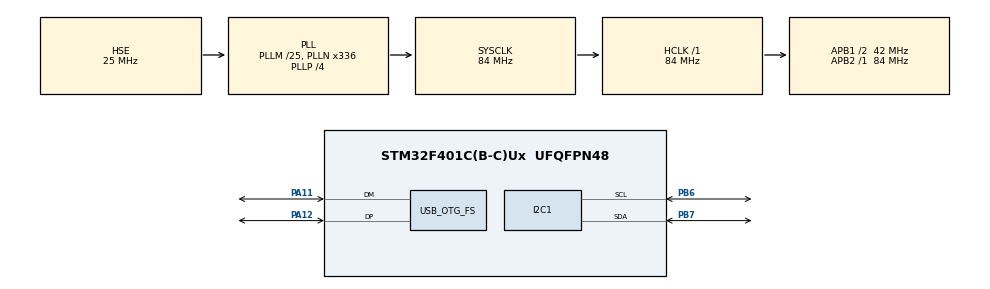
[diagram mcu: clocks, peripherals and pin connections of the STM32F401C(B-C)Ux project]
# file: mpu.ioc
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I2C1.I2C_Mode=I2C_Fast
Mcu.Family=STM32F4
Mcu.Name=STM32F401C(B-C)Ux
Mcu.Package=UFQFPN48
NVIC.OTG_FS_IRQn=true\:0\:0\:false\:false\:true\:false\:true\:true
NVIC.PriorityGroup=NVIC_PRIORITYGROUP_4
PA11.Mode=Device_Only
PA11.Signal=USB_OTG_FS_DM
PA12.Mode=Device_Only
PA12.Signal=USB_OTG_FS_DP
PB6.Mode=I2C
PB6.Signal=I2C1_SCL
PB7.Mode=I2C
PB7.Signal=I2C1_SDA
PH0\ -\ OSC_IN.Mode=HSE-External-Oscillator
PH0\ -\ OSC_IN.Signal=RCC_OSC_IN
PH1\ -\ OSC_OUT.Mode=HSE-External-Oscillator
PH1\ -\ OSC_OUT.Signal=RCC_OSC_OUT
ProjectManager.HeapSize=0x200
ProjectManager.StackSize=0x400
ProjectManager.TargetToolchain=STM32CubeIDE
RCC.48MHZClocksFreq_Value=48000000
RCC.AHBFreq_Value=84000000
RCC.APB1CLKDivider=RCC_HCLK_DIV2
RCC.APB1Freq_Value=42000000
RCC.APB1TimFreq_Value=84000000
RCC.APB2Freq_Value=84000000
RCC.APB2TimFreq_Value=84000000
RCC.CortexFreq_Value=84000000
RCC.HCLKFreq_Value=84000000
RCC.HSE_VALUE=25000000
RCC.HSI_VALUE=16000000
RCC.LSE_VALUE=32768
RCC.PLLM=25
RCC.PLLN=336
RCC.PLLP=RCC_PLLP_DIV4
RCC.PLLQ=7
RCC.SYSCLKFreq_VALUE=84000000
RCC.SYSCLKSource=RCC_SYSCLKSOURCE_PLLCLK
RCC.VCOOutputFreq_Value=336000000
STMicroelectronics.X-CUBE-ALGOBUILD.1.5.0.LibraryCcDSPOoLibraryJjDSPOoLibrary=true
USB_DEVICE.CLASS_NAME_FS=CDC
USB_DEVICE.VirtualMode=Cdc
USB_DEVICE.VirtualModeFS=Cdc_FS
USB_OTG_FS.VirtualMode=Device_Only
VP_STMicroelectronics.X-CUBE-ALGOBUILD_VS_DSPOoLibraryJjLibrary_1.5.0_1.5.0.Mode=DSPOoLibraryJjLibrary
VP_USB_DEVICE_VS_USB_DEVICE_CDC_FS.Mode=CDC_FS
board=custom

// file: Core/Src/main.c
/* USER CODE BEGIN Header */
/**
 ******************************************************************************
 * @file           : main.c
 * @brief          : Main program body
 ******************************************************************************
 * @attention
 *
 * Copyright (c) 2026 STMicroelectronics.
 * All rights reserved.
 *
 * This software is licensed under terms that can be found in the LICENSE file
 * in the root directory of this software component.
 * If no LICENSE file comes with this software, it is provided AS-IS.
 *
 ******************************************************************************
 */
/* USER CODE END Header */

#include "main.h"
#include "usb_device.h"

/* USER CODE BEGIN Includes */
#include "usbd_cdc_if.h"
#include <math.h>
#include "arm_math.h"
/* USER CODE END Includes */

/* USER CODE BEGIN PD */

#define DEG2RAD 3.14159265f / 180.0f
#define RAD2DEG 180.0f / 3.14159265f

/* USER CODE END PD */

I2C_HandleTypeDef hi2c1;

void SystemClock_Config(void);
static void MX_GPIO_Init(void);
static void MX_I2C1_Init(void);

/* USER CODE BEGIN 0 */

float sigma = DEG2RAD * 0.5f;   // 0.5 deg/s

// Pre-allocated matrices for CMSIS-DSP (flat arrays)
static float F_flat[16];
static float P_flat[16];
static float Q_flat[16];
static float temp1_flat[16];
static float temp2_flat[16];
static float F_T_flat[16];

static float H_flat[12];
static float HP_flat[12];
static float S_flat[9];
static float R_flat[9];
static float HP_T_flat[12];
static float S_inv_flat[9];
static float PHt_flat[12];
static float K_flat[12];
static float KH_flat[16];
static float I_KH_flat[16];
static float P_new_flat[16];

// CMSIS-DSP matrix instances
static arm_matrix_instance_f32 F_mat = { 4, 4, F_flat };
static arm_matrix_instance_f32 P_mat = { 4, 4, P_flat };

static arm_matrix_instance_f32 temp1_mat = { 4, 4, temp1_flat };
static arm_matrix_instance_f32 temp2_mat = { 4, 4, temp2_flat };
static arm_matrix_instance_f32 F_T_mat = { 4, 4, F_T_flat };

// test the github
static arm_matrix_instance_f32 H_mat = { 3, 4, H_flat };
static arm_matrix_instance_f32 HP_mat = { 3, 4, HP_flat };
static arm_matrix_instance_f32 S_mat = { 3, 3, S_flat };
static arm_matrix_instance_f32 HP_T_mat = { 4, 3, HP_T_flat };
static arm_matrix_instance_f32 S_inv_mat = { 3, 3, S_inv_flat };
static arm_matrix_instance_f32 H_T_mat = { 4, 3, PHt_flat };
static arm_matrix_instance_f32 PHt_mat = { 4, 3, PHt_flat };
static arm_matrix_instance_f32 K_mat = { 4, 3, K_flat };
static arm_matrix_instance_f32 KH_mat = { 4, 4, KH_flat };
static arm_matrix_instance_f32 I_KH_mat = { 4, 4, I_KH_flat };
static arm_matrix_instance_f32 P_new_mat = { 4, 4, P_new_flat };

/* USER CODE END 0 */

int main(void) {

	uint8_t data[2];
	uint8_t buf[200];

	// Raw sensor values
	int16_t AccX, AccY, AccZ;
	int16_t GyroX, GyroY, GyroZ;

	// Converted values
	float Ax_g, Ay_g, Az_g;
	float Gx_dps, Gy_dps, Gz_dps;

	// Gyro offsets
	float Gx_offset = 0, Gy_offset = 0, Gz_offset = 0;

	// Timing
	uint32_t start_time, execution_time;
	float dt;

	// Quaternion State
	float q0 = 1.0f, q1 = 0.0f, q2 = 0.0f, q3 = 0.0f;

	// Output angles
	float Roll_q, Pitch_q, Yaw_q;

	/* MCU Configuration--------------------------------------------------------*/
	HAL_Init();

	/* Configure the system clock */
	SystemClock_Config();

	/* Initialize all configured peripherals */
	MX_GPIO_Init();
	MX_I2C1_Init();
	MX_USB_DEVICE_Init();

	/* USER CODE BEGIN 2 */
#define MPU_ADDR (0x68 << 1)

	uint8_t config;

	// Sample Rate = 200Hz
	config = 0x04;
	HAL_I2C_Mem_Write(&hi2c1, MPU_ADDR, 0x19, I2C_MEMADD_SIZE_8BIT, &config, 1,
			100);

	// Gyroscope Range = ±500 dps
	config = 0x08;
	HAL_I2C_Mem_Write(&hi2c1, MPU_ADDR, 0x1B, I2C_MEMADD_SIZE_8BIT, &config, 1,
			100);

	// Accelerometer Range = ±4g
	config = 0x08;
	HAL_I2C_Mem_Write(&hi2c1, MPU_ADDR, 0x1C, I2C_MEMADD_SIZE_8BIT, &config, 1,
			100);

	// Digital Low Pass Filter = 184Hz
	config = 0x01;
	HAL_I2C_Mem_Write(&hi2c1, MPU_ADDR, 0x1A, I2C_MEMADD_SIZE_8BIT, &config, 1,
			100);

	HAL_Delay(100);

	// -------- Gyroscope Calibration --------
	int32_t gx_sum = 0, gy_sum = 0, gz_sum = 0;
	uint16_t samples = 0;
	uint32_t calib_start = HAL_GetTick();

	while ((HAL_GetTick() - calib_start) < 10000) {
		HAL_I2C_Mem_Read(&hi2c1, MPU_ADDR, 0x43, I2C_MEMADD_SIZE_8BIT, data, 2,
				100);
		GyroX = (data[0] << 8) | data[1];
		HAL_I2C_Mem_Read(&hi2c1, MPU_ADDR, 0x45, I2C_MEMADD_SIZE_8BIT, data, 2,
				100);
		GyroY = (data[0] << 8) | data[1];
		HAL_I2C_Mem_Read(&hi2c1, MPU_ADDR, 0x47, I2C_MEMADD_SIZE_8BIT, data, 2,
				100);
		GyroZ = (data[0] << 8) | data[1];

		gx_sum += GyroX;
		gy_sum += GyroY;
		gz_sum += GyroZ;
		samples++;
		HAL_Delay(5);
	}

	Gx_offset = (float) gx_sum / samples;
	Gy_offset = (float) gy_sum / samples;
	Gz_offset = (float) gz_sum / samples;

	/* USER CODE END 2 */

	/* Infinite loop */
	/* USER CODE BEGIN WHILE */
	while (1) {

		start_time = HAL_GetTick();

		//================ READ ACC =================
		HAL_I2C_Mem_Read(&hi2c1, MPU_ADDR, 0x3B, I2C_MEMADD_SIZE_8BIT, data, 2,
				100);
		AccX = (data[0] << 8) | data[1];

		HAL_I2C_Mem_Read(&hi2c1, MPU_ADDR, 0x3D, I2C_MEMADD_SIZE_8BIT, data, 2,
				100);
		AccY = (data[0] << 8) | data[1];

		HAL_I2C_Mem_Read(&hi2c1, MPU_ADDR, 0x3F, I2C_MEMADD_SIZE_8BIT, data, 2,
				100);
		AccZ = (data[0] << 8) | data[1];

		//================ READ GYRO =================
		HAL_I2C_Mem_Read(&hi2c1, MPU_ADDR, 0x43, I2C_MEMADD_SIZE_8BIT, data, 2,
				100);
		GyroX = (data[0] << 8) | data[1];

		HAL_I2C_Mem_Read(&hi2c1, MPU_ADDR, 0x45, I2C_MEMADD_SIZE_8BIT, data, 2,
				100);
		GyroY = (data[0] << 8) | data[1];

		HAL_I2C_Mem_Read(&hi2c1, MPU_ADDR, 0x47, I2C_MEMADD_SIZE_8BIT, data, 2,
				100);
		GyroZ = (data[0] << 8) | data[1];

		//================ CONVERSION =================
		Ax_g = AccX / 8192.0f;
		Ay_g = AccY / 8192.0f;
		Az_g = AccZ / 8192.0f;

		Gx_dps = (GyroX - Gx_offset) / 65.5f;
		Gy_dps = (GyroY - Gy_offset) / 65.5f;
		Gz_dps = (GyroZ - Gz_offset) / 65.5f;

		//================ DT ==============================
		execution_time = HAL_GetTick() - start_time;
		while (execution_time < 5) {
			execution_time = HAL_GetTick() - start_time;
		}
		dt = execution_time / 1000.0f;

		//================ GYRO TO RAD ======================
		float gx = Gx_dps * 0.0174533f;
		float gy = Gy_dps * 0.0174533f;
		float gz = Gz_dps * 0.0174533f;

		//================ KALMAN PREDICTION =================
		// Quaternion update using gyroscope data
		float qw = q0, qx = q1, qy = q2, qz = q3;

		q0 = qw - 0.5f * dt * gx * qx - 0.5f * dt * gy * qy
				- 0.5f * dt * gz * qz;
		q1 = qx + 0.5f * dt * gx * qw - 0.5f * dt * gy * qz
				+ 0.5f * dt * gz * qy;
		q2 = qy + 0.5f * dt * gx * qz + 0.5f * dt * gy * qw
				- 0.5f * dt * gz * qx;
		q3 = qz - 0.5f * dt * gx * qy + 0.5f * dt * gy * qx
				+ 0.5f * dt * gz * qw;

		// State transition matrix F
		float hdt = 0.5f * dt;
		F_flat[0] = 1.0f;
		F_flat[1] = -hdt * gx;
		F_flat[2] = -hdt * gy;
		F_flat[3] = -hdt * gz;
		F_flat[4] = hdt * gx;
		F_flat[5] = 1.0f;
		F_flat[6] = hdt * gz;
		F_flat[7] = -hdt * gy;
		F_flat[8] = hdt * gy;
		F_flat[9] = -hdt * gz;
		F_flat[10] = 1.0f;
		F_flat[11] = hdt * gx;
		F_flat[12] = hdt * gz;
		F_flat[13] = hdt * gy;
		F_flat[14] = -hdt * gx;
		F_flat[15] = 1.0f;

		// Process noise covariance Q
		float q_var = sigma * sigma * dt * dt;
		arm_fill_f32(0.0f, Q_flat, 16);
		Q_flat[0] = q_var;
		Q_flat[5] = q_var;
		Q_flat[10] = q_var;
		Q_flat[15] = q_var;

		// Covariance prediction: P = F * P * F^T + Q
		arm_mat_mult_f32(&F_mat, &P_mat, &temp1_mat);
		arm_mat_trans_f32(&F_mat, &F_T_mat);
		arm_mat_mult_f32(&temp1_mat, &F_T_mat, &temp2_mat);
		arm_add_f32(temp2_flat, Q_flat, P_flat, 16);

		//================ KALMAN UPDATE =================
		// Measurement vector from accelerometer
		float z[3];
		float acc_norm = sqrtf(Ax_g * Ax_g + Ay_g * Ay_g + Az_g * Az_g);
		if (acc_norm > 0.000001f) {
			z[0] = Ax_g / acc_norm;
			z[1] = Ay_g / acc_norm;
			z[2] = Az_g / acc_norm;
		}

		// Predicted measurement from quaternion
		float h[3];
		h[0] = 2.0f * (q1 * q3 - q0 * q2);
		h[1] = 2.0f * (q2 * q3 + q0 * q1);
		h[2] = 1.0f - 2.0f * (q1 * q1 + q2 * q2);

		// Measurement noise covariance R
		arm_fill_f32(0.0f, R_flat, 9);
		R_flat[0] = 0.01f;
		R_flat[4] = 0.01f;
		R_flat[8] = 0.01f;

		// Jacobian matrix H
		H_flat[0] = -2 * q2;
		H_flat[1] = 2 * q3;
		H_flat[2] = -2 * q0;
		H_flat[3] = 2 * q1;
		H_flat[4] = 2 * q1;
		H_flat[5] = 2 * q0;
		H_flat[6] = 2 * q3;
		H_flat[7] = 2 * q2;
		H_flat[8] = 0.0f;
		H_flat[9] = -4 * q1;
		H_flat[10] = -4 * q2;
		H_flat[11] = 0.0f;

		// Innovation
		float v[3];
		v[0] = z[0] - h[0];
		v[1] = z[1] - h[1];
		v[2] = z[2] - h[2];

		// Innovation covariance S = H*P*H^T + R
		arm_mat_mult_f32(&H_mat, &P_mat, &HP_mat);
		arm_mat_trans_f32(&HP_mat, &HP_T_mat);
		arm_mat_mult_f32(&HP_mat, &HP_T_mat, &S_mat);
		arm_add_f32(S_flat, R_flat, S_flat, 9);

		// Inverse of S
		arm_mat_inverse_f32(&S_mat, &S_inv_mat);

		// Kalman gain K = P * H^T * S_inv
		arm_mat_trans_f32(&H_mat, &H_T_mat);
		arm_mat_mult_f32(&P_mat, &H_T_mat, &PHt_mat);
		arm_mat_mult_f32(&PHt_mat, &S_inv_mat, &K_mat);

		// State update
		float Kv[4];
		arm_matrix_instance_f32 v_mat = { 3, 1, v };
		arm_matrix_instance_f32 Kv_mat = { 4, 1, Kv };
		arm_mat_mult_f32(&K_mat, &v_mat, &Kv_mat);

		q0 += Kv[0];
		q1 += Kv[1];
		q2 += Kv[2];
		q3 += Kv[3];

		// Covariance update
		arm_mat_mult_f32(&K_mat, &H_mat, &KH_mat);

		// I_KH = I - KH
		float I_flat[16] = { 1, 0, 0, 0, 0, 1, 0, 0, 0, 0, 1, 0, 0, 0, 0, 1 };
		arm_sub_f32(I_flat, KH_flat, I_KH_flat, 16);

		// P = (I - K*H) * P
		arm_mat_mult_f32(&I_KH_mat, &P_mat, &P_new_mat);
		arm_copy_f32(P_new_flat, P_flat, 16);

		//================ CONVERT TO EULER ANGLES =================
		Roll_q = atan2f(2.0f * (q0 * q1 + q2 * q3),
				1.0f - 2.0f * (q1 * q1 + q2 * q2));
		Roll_q = Roll_q * RAD2DEG;

		float t = 2.0f * (q0 * q2 - q3 * q1);
		if (t > 1.0f)
			t = 1.0f;
		if (t < -1.0f)
			t = -1.0f;
		Pitch_q = asinf(t) * RAD2DEG;
		Yaw_q = atan2f(2.0f * (q0 * q3 + q1 * q2),
				1.0f - 2.0f * (q2 * q2 + q3 * q3));
		Yaw_q = Yaw_q * RAD2DEG;

		// Send to USB
		snprintf((char*) buf, sizeof(buf), "Roll %.2f Pitch %.2f Yaw %.2f\r\n",
				Roll_q, Pitch_q, Yaw_q);
		CDC_Transmit_FS(buf, strlen((char*) buf));

		/* USER CODE END WHILE */
	}
}

void SystemClock_Config(void) {
	RCC_OscInitTypeDef RCC_OscInitStruct = { 0 };
	RCC_ClkInitTypeDef RCC_ClkInitStruct = { 0 };

	__HAL_RCC_PWR_CLK_ENABLE();
	__HAL_PWR_VOLTAGESCALING_CONFIG(PWR_REGULATOR_VOLTAGE_SCALE2);

	RCC_OscInitStruct.OscillatorType = RCC_OSCILLATORTYPE_HSE;
	RCC_OscInitStruct.HSEState = RCC_HSE_ON;
	RCC_OscInitStruct.PLL.PLLState = RCC_PLL_ON;
	RCC_OscInitStruct.PLL.PLLSource = RCC_PLLSOURCE_HSE;
	RCC_OscInitStruct.PLL.PLLM = 25;
	RCC_OscInitStruct.PLL.PLLN = 336;
	RCC_OscInitStruct.PLL.PLLP = RCC_PLLP_DIV4;
	RCC_OscInitStruct.PLL.PLLQ = 7;
	if (HAL_RCC_OscConfig(&RCC_OscInitStruct) != HAL_OK) {
		Error_Handler();
	}

	RCC_ClkInitStruct.ClockType = RCC_CLOCKTYPE_HCLK | RCC_CLOCKTYPE_SYSCLK
			| RCC_CLOCKTYPE_PCLK1 | RCC_CLOCKTYPE_PCLK2;
	RCC_ClkInitStruct.SYSCLKSource = RCC_SYSCLKSOURCE_PLLCLK;
	RCC_ClkInitStruct.AHBCLKDivider = RCC_SYSCLK_DIV1;
	RCC_ClkInitStruct.APB1CLKDivider = RCC_HCLK_DIV2;
	RCC_ClkInitStruct.APB2CLKDivider = RCC_HCLK_DIV1;

	if (HAL_RCC_ClockConfig(&RCC_ClkInitStruct, FLASH_LATENCY_2) != HAL_OK) {
		Error_Handler();
	}
}

static void MX_I2C1_Init(void) {
	hi2c1.Instance = I2C1;
	hi2c1.Init.ClockSpeed = 400000;
	hi2c1.Init.DutyCycle = I2C_DUTYCYCLE_2;
	hi2c1.Init.OwnAddress1 = 0;
	hi2c1.Init.AddressingMode = I2C_ADDRESSINGMODE_7BIT;
	hi2c1.Init.DualAddressMode = I2C_DUALADDRESS_DISABLE;
	hi2c1.Init.OwnAddress2 = 0;
	hi2c1.Init.GeneralCallMode = I2C_GENERALCALL_DISABLE;
	hi2c1.Init.NoStretchMode = I2C_NOSTRETCH_DISABLE;

	if (HAL_I2C_Init(&hi2c1) != HAL_OK) {
		Error_Handler();
	}
}

static void MX_GPIO_Init(void) {
	__HAL_RCC_GPIOH_CLK_ENABLE();
	__HAL_RCC_GPIOA_CLK_ENABLE();
	__HAL_RCC_GPIOB_CLK_ENABLE();
}

void Error_Handler(void) {
	__disable_irq();
	while (1) {
	}
}
